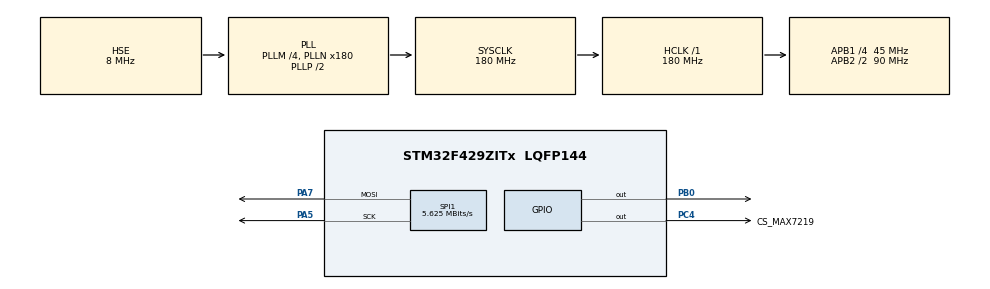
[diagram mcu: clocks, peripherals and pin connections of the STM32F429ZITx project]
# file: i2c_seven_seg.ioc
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Mcu.Family=STM32F4
Mcu.Name=STM32F429ZITx
Mcu.Package=LQFP144
NVIC.PriorityGroup=NVIC_PRIORITYGROUP_4
PA13.Mode=Serial_Wire
PA13.Signal=SYS_JTMS-SWDIO
PA14.Mode=Serial_Wire
PA14.Signal=SYS_JTCK-SWCLK
PA5.Mode=TX_Only_Simplex_Unidirect_Master
PA5.Signal=SPI1_SCK
PA7.Mode=TX_Only_Simplex_Unidirect_Master
PA7.Signal=SPI1_MOSI
PB0.GPIO_PuPd=GPIO_PULLUP
PB0.Signal=GPIO_Output
PC4.GPIO_Label=CS_MAX7219
PC4.GPIO_PuPd=GPIO_NOPULL
PC4.Signal=GPIO_Output
PH0/OSC_IN.Mode=HSE-External-Oscillator
PH0/OSC_IN.Signal=RCC_OSC_IN
PH1/OSC_OUT.Mode=HSE-External-Oscillator
PH1/OSC_OUT.Signal=RCC_OSC_OUT
ProjectManager.HeapSize=0x200
ProjectManager.StackSize=0x400
ProjectManager.TargetToolchain=STM32CubeIDE
RCC.48MHZClocksFreq_Value=90000000
RCC.AHBFreq_Value=180000000
RCC.APB1CLKDivider=RCC_HCLK_DIV4
RCC.APB1Freq_Value=45000000
RCC.APB1TimFreq_Value=90000000
RCC.APB2CLKDivider=RCC_HCLK_DIV2
RCC.APB2Freq_Value=90000000
RCC.APB2TimFreq_Value=180000000
RCC.CortexFreq_Value=180000000
RCC.HCLKFreq_Value=180000000
RCC.HSE_VALUE=8000000
RCC.HSI_VALUE=16000000
RCC.LSE_VALUE=32768
RCC.PLLM=4
RCC.PLLN=180
RCC.PLLSourceVirtual=RCC_PLLSOURCE_HSE
RCC.SYSCLKFreq_VALUE=180000000
RCC.SYSCLKSource=RCC_SYSCLKSOURCE_PLLCLK
RCC.VCOOutputFreq_Value=360000000
SPI1.BaudRatePrescaler=SPI_BAUDRATEPRESCALER_16
SPI1.CalculateBaudRate=5.625 MBits/s
SPI1.DataSize=SPI_DATASIZE_8BIT
SPI1.Direction=SPI_DIRECTION_2LINES
SPI1.Mode=SPI_MODE_MASTER
SPI1.VirtualType=VM_MASTER
board=custom

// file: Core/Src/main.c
/* USER CODE BEGIN Header */
/**
  ******************************************************************************
  * @file           : main.c
  * @brief          : Main program body
  ******************************************************************************
  * @attention
  *
  * Copyright (c) 2022 STMicroelectronics.
  * All rights reserved.
  *
  * This software is licensed under terms that can be found in the LICENSE file
  * in the root directory of this software component.
  * If no LICENSE file comes with this software, it is provided AS-IS.
  *
  ******************************************************************************
  */
/* USER CODE END Header */
#include "main.h"

/* USER CODE BEGIN Includes */

#include "max7219.h"
#include "max7219_digits.h"
#include "stdlib.h"
#include "string.h"
#include "stdio.h"

/* USER CODE END Includes */

 SPI_HandleTypeDef hspi1;

/* USER CODE BEGIN PV */
 uint8_t val = 0;
 uint8_t final;
 uint8_t cnt = 0;
 uint8_t value = 0;
 char msg[5] = {0};
 char msg2[5] = {0};
 uint8_t rand_val = 0;
 uint8_t rand_val_final;
 uint8_t val_setled = 0;
 uint8_t str_len = 0;
 uint8_t str_len2 = 0;
 uint8_t len_flag = 0;
 uint8_t len_flag2 = 0;
// float string_pass = 0.0;
 float string_pass_extr = 0.0;
// float string_pass2 = 0.0;
 float string_pass_extr2 = 0.0;

 int i = 0,j = 0,k=0,m = 0,n = 0;

 int numberArray[8];
 uint8_t maxDevice =1;

 volatile uint8_t displayColon = 0;

 uint8_t SYMBOLS[] = {
 		0x00,	// numeric 0
 		0x01,	// numeric 1
 		0x02,	// numeric 2
 		0x03,	// numeric 3
 		0x04,	// numeric 4
 		0x05,	// numeric 5
 		0x06,	// numeric 6
 		0x07,	// numeric 7
 		0x08,	// numeric 8
 		0x09,	// numeric 9
 		0x01,	// minus
 		0x4F,	// letter E
 		0x37,	// letter H
 		0x0E,	// letter L
 		0x67,	// letter P
 		0x00	// blank
 };
/* USER CODE END PV */

void SystemClock_Config(void);
static void MX_GPIO_Init(void);
static void MX_SPI1_Init(void);
/* USER CODE BEGIN PFP */

static uint8_t number_loop (void);
uint8_t getSymbol(uint8_t number);
uint8_t setLed(int state);
void hart_sendDataSPI(uint8_t reg, uint8_t data);
void InitSPI(void);
void MAX7219_DisplayDecimal(int v, int displaySeparator);

void apc_volt(float string_pass);
void apc_current(float string_pass2);

/* USER CODE END PFP */

int main(void)
{

  /* MCU Configuration--------------------------------------------------------*/

  /* Reset of all peripherals, Initializes the Flash interface and the Systick. */
  HAL_Init();

  /* Configure the system clock */
  SystemClock_Config();

  /* Initialize all configured peripherals */
  MX_GPIO_Init();
  MX_SPI1_Init();
  max7219_Init(NUM_6);
  MAX7219_Init(&hspi1);
  InitSPI();

  /* Infinite loop */
  /* USER CODE BEGIN WHILE */
  while (1)
  {

/*	  value = number_loop();

	  if(value < 10)
	  {
		  final = getSymbol(value);

		  if(j < final)
		  {
			  k = j+1;
			  max7219_PrintDigit(k, final, 0);
			  HAL_Delay(200);
			  MAX7219_ClearAll();
			  j++;
		  }
		  else
		  {
			  j = 0;
		  }

//		  	  HAL_Delay(500);
	  }
	  else
	  {
		  for(i = -11; i < 22; i++)
			  	  {
			  		  MAX7219_ClearAll();
			  		  MAX7219_PutString(i, "Rajdeep");
			  		  HAL_Delay(200);
			  	  }

			  HAL_Delay(100);

			  MAX7219_PutStringCenterAdjust("HARTIANS");
			  HAL_Delay(500);
			  MAX7219_ClearAll();
	  }*/

//	  MAX7219_ClearAll();
/*

	  if(string_pass < 15.00 && len_flag == 0)
	  {
			  sprintf(msg,"%0.2f",string_pass);
//			  MAX7219_ClearAll();
			  MAX7219_PutStringLeftAdjust(msg);
			  str_len = strlen(msg);
			  string_pass+=0.02;
			  HAL_Delay(20);
			  string_pass_extr = string_pass;
	  }
	  else
	  {
//		  string_pass_extr = string_pass;
	  }

	  if(str_len <= 5)
	  {
		  	  if(string_pass_extr < 210.00)
		  	  {
//				  string_pass =
				  len_flag = 1;
				  sprintf(msg,"%0.01f",string_pass_extr);
				  //			  MAX7219_ClearAll();
				   MAX7219_PutStringLeftAdjust(msg);
				   string_pass_extr+=0.02;
				   HAL_Delay(10);
		  	  }
		  	else
		  	  {
		  		  string_pass = 0.0;
		  		  len_flag = 0;
		  	  }
	  }
	  else
	  {
//		  len_flag = 0;
	  }
*/

	  apc_volt(0.0);
	  apc_current(0.0);

//
//	  	  if(string_pass2 < 100.00)
//	  	  {
//	  			  sprintf(msg2,"%0.2f",string_pass2);
//	  			  MAX7219_PutString(4, msg2);
//	  			  string_pass2+=0.02;
////	  			  HAL_Delay(100);
//	  	  }
//	  	  else
//	  	  {
//	  		  string_pass2 = 0.0;
//	  	  }

/*

			if(i < 9)
			{
//				hart_sendDataSPI(i+1, numberArray[i]);
//				 MAX7219_ClearAll();
				val_setled = setLed(0);
				HAL_GPIO_WritePin(GPIOB, GPIO_PIN_0, RESET);
				max7219_SendData(4, Max7219_Digits[i]);
				i++;
				HAL_Delay(200);
			}
//			else if( i < 15)
//			{
//				setLed(1);
//				max7219_SendData(i+1, numberArray[i]);
//				i++;
//			}

			else
			{
				 MAX7219_ClearAll();
				i = 0;
				 HAL_GPIO_WritePin(GPIOB, GPIO_PIN_0, SET);
//				 HAL_Delay(200);
			}
*/

//			  HAL_Delay(1000);

//
//	  if(cnt < 1)
//	  {
//		  max7219_PrintDigit(DIGIT_3, NUM_0, cnt);
//		  cnt++;
//	  }
//	  else
//	  {
//		  max7219_PrintDigit(DIGIT_3, NUM_0, cnt);
//		  cnt = 0;
//	  }
//
//	  max7219_PrintDigit(DIGIT_6, LETTER_A, cnt);
//
//	  HAL_Delay(500);
//	  max7219_Clean();

    /* USER CODE END WHILE */

  }
}

void SystemClock_Config(void)
{
  RCC_OscInitTypeDef RCC_OscInitStruct = {0};
  RCC_ClkInitTypeDef RCC_ClkInitStruct = {0};

  /** Configure the main internal regulator output voltage
  */
  __HAL_RCC_PWR_CLK_ENABLE();
  __HAL_PWR_VOLTAGESCALING_CONFIG(PWR_REGULATOR_VOLTAGE_SCALE1);

  /** Initializes the RCC Oscillators according to the specified parameters
  * in the RCC_OscInitTypeDef structure.
  */
  RCC_OscInitStruct.OscillatorType = RCC_OSCILLATORTYPE_HSE;
  RCC_OscInitStruct.HSEState = RCC_HSE_ON;
  RCC_OscInitStruct.PLL.PLLState = RCC_PLL_ON;
  RCC_OscInitStruct.PLL.PLLSource = RCC_PLLSOURCE_HSE;
  RCC_OscInitStruct.PLL.PLLM = 4;
  RCC_OscInitStruct.PLL.PLLN = 180;
  RCC_OscInitStruct.PLL.PLLP = RCC_PLLP_DIV2;
  RCC_OscInitStruct.PLL.PLLQ = 4;
  if (HAL_RCC_OscConfig(&RCC_OscInitStruct) != HAL_OK)
  {
    Error_Handler();
  }

  /** Activate the Over-Drive mode
  */
  if (HAL_PWREx_EnableOverDrive() != HAL_OK)
  {
    Error_Handler();
  }

  /** Initializes the CPU, AHB and APB buses clocks
  */
  RCC_ClkInitStruct.ClockType = RCC_CLOCKTYPE_HCLK|RCC_CLOCKTYPE_SYSCLK
                              |RCC_CLOCKTYPE_PCLK1|RCC_CLOCKTYPE_PCLK2;
  RCC_ClkInitStruct.SYSCLKSource = RCC_SYSCLKSOURCE_PLLCLK;
  RCC_ClkInitStruct.AHBCLKDivider = RCC_SYSCLK_DIV1;
  RCC_ClkInitStruct.APB1CLKDivider = RCC_HCLK_DIV4;
  RCC_ClkInitStruct.APB2CLKDivider = RCC_HCLK_DIV2;

  if (HAL_RCC_ClockConfig(&RCC_ClkInitStruct, FLASH_LATENCY_5) != HAL_OK)
  {
    Error_Handler();
  }
}

static void MX_SPI1_Init(void)
{

  /* SPI1 parameter configuration*/
  hspi1.Instance = SPI1;
  hspi1.Init.Mode = SPI_MODE_MASTER;
  hspi1.Init.Direction = SPI_DIRECTION_2LINES;
  hspi1.Init.DataSize = SPI_DATASIZE_8BIT;
  hspi1.Init.CLKPolarity = SPI_POLARITY_LOW;
  hspi1.Init.CLKPhase = SPI_PHASE_1EDGE;
  hspi1.Init.NSS = SPI_NSS_SOFT;
  hspi1.Init.BaudRatePrescaler = SPI_BAUDRATEPRESCALER_16;
  hspi1.Init.FirstBit = SPI_FIRSTBIT_MSB;
  hspi1.Init.TIMode = SPI_TIMODE_DISABLE;
  hspi1.Init.CRCCalculation = SPI_CRCCALCULATION_DISABLE;
  hspi1.Init.CRCPolynomial = 10;
  if (HAL_SPI_Init(&hspi1) != HAL_OK)
  {
    Error_Handler();
  }

}

static void MX_GPIO_Init(void)
{
  GPIO_InitTypeDef GPIO_InitStruct = {0};

  /* GPIO Ports Clock Enable */
  __HAL_RCC_GPIOH_CLK_ENABLE();
  __HAL_RCC_GPIOA_CLK_ENABLE();
  __HAL_RCC_GPIOC_CLK_ENABLE();
  __HAL_RCC_GPIOB_CLK_ENABLE();

  /*Configure GPIO pin Output Level */
  HAL_GPIO_WritePin(CS_MAX7219_GPIO_Port, CS_MAX7219_Pin, GPIO_PIN_RESET);

  /*Configure GPIO pin Output Level */
  HAL_GPIO_WritePin(GPIOB, GPIO_PIN_0, GPIO_PIN_RESET);

  /*Configure GPIO pin : CS_MAX7219_Pin */
  GPIO_InitStruct.Pin = CS_MAX7219_Pin;
  GPIO_InitStruct.Mode = GPIO_MODE_OUTPUT_PP;
  GPIO_InitStruct.Pull = GPIO_NOPULL;
  GPIO_InitStruct.Speed = GPIO_SPEED_FREQ_LOW;
  HAL_GPIO_Init(CS_MAX7219_GPIO_Port, &GPIO_InitStruct);

  /*Configure GPIO pin : PB0 */
  GPIO_InitStruct.Pin = GPIO_PIN_0;
  GPIO_InitStruct.Mode = GPIO_MODE_OUTPUT_PP;
  GPIO_InitStruct.Pull = GPIO_PULLUP;
  GPIO_InitStruct.Speed = GPIO_SPEED_FREQ_LOW;
  HAL_GPIO_Init(GPIOB, &GPIO_InitStruct);

}

/* USER CODE BEGIN 4 */
//
void InitSPI(void)
{
	// Set displays

	for(uint8_t j =0; j< maxDevice ; j++)
	{
		HAL_GPIO_WritePin(GPIOB, GPIO_PIN_0, GPIO_PIN_RESET);  // SELECT SLAVE
//		max7219_SendData(0x09,0xFF);  // Decode Mode --Code B decode for digits 7–0
		HAL_GPIO_WritePin(GPIOB, GPIO_PIN_0, GPIO_PIN_SET);  // END OF COMMUNICATION
	}
	for(uint8_t j =0; j< maxDevice ; j++)
	{
		HAL_GPIO_WritePin(GPIOB, GPIO_PIN_0, GPIO_PIN_RESET);  // SELECT SLAVE
//		max7219_SendData(0x0A,0x00);  // Intensity  --- low
		HAL_GPIO_WritePin(GPIOB, GPIO_PIN_0, GPIO_PIN_SET);  // END OF COMMUNICATION
	}
	for(uint8_t j =0; j< maxDevice ; j++)
	{
		HAL_GPIO_WritePin(GPIOB, GPIO_PIN_0, GPIO_PIN_RESET);  // SELECT SLAVE
//		max7219_SendData(0x0B,0x07);  // Scan Limit  --- 0-7
		HAL_GPIO_WritePin(GPIOB, GPIO_PIN_0, GPIO_PIN_SET);  // END OF COMMUNICATION
	}
	for(uint8_t j =0; j< maxDevice ; j++)
	{
		HAL_GPIO_WritePin(GPIOB, GPIO_PIN_0, GPIO_PIN_RESET);  // SELECT SLAVE
//		max7219_SendData(0x0C,0x01);  // Shutdown  --- no
		HAL_GPIO_WritePin(GPIOB, GPIO_PIN_0, GPIO_PIN_SET);  // END OF COMMUNICATION
	}
	for(uint8_t j =0; j< maxDevice ; j++)
	{
		HAL_GPIO_WritePin(GPIOB, GPIO_PIN_0, GPIO_PIN_RESET);  // SELECT SLAVE
//		max7219_SendData(0x0F,0x00);  // Display Test  --- no
		HAL_GPIO_WritePin(GPIOB, GPIO_PIN_0, GPIO_PIN_SET);  // END OF COMMUNICATION
	}

	MAX7219_ClearAll();

	numberArray[0]= 0;		//0x7E;
	numberArray[1]= 0;		//0x30;	// numeric 1;
	numberArray[2]= 0;		//0x6D;	// numeric 2;
	numberArray[3]= 0;		//0x79;	// numeric 3;
	numberArray[4]= 0;		//0x33;	// numeric 4;
	numberArray[5]= 0;		//0x5B;	// numeric 5;
	numberArray[6]= 0;		//0x5F;	// numeric 6;
	numberArray[7]= 0;		//0x70;	// numeric 7;
}

uint8_t setLed(int state)
{
	switch(state)
	{
		case 0:
			numberArray[0] +=1;
			if(numberArray[0] > 9)
			{
				numberArray[0]=0;
				numberArray[1] +=1;
			}

		break;
		case 1:
//			HAL_GPIO_TogglePin(GPIOA,GPIO_PIN_7);
		numberArray[0] -=1;
		if(numberArray[0]<0)
			{
				numberArray[0]=9;
				numberArray[1] -=1;
			}
		break;
	}

}

void hart_sendDataSPI(uint8_t reg, uint8_t data)
{

		HAL_SPI_Transmit(&hspi1, (uint8_t*)&reg ,1, 1000);
		while(HAL_SPI_GetState(&hspi1) != HAL_SPI_STATE_READY);  // wait untill spi be free
		HAL_SPI_Transmit(&hspi1, (uint8_t*)&data ,1, 1000);
		while(HAL_SPI_GetState(&hspi1) != HAL_SPI_STATE_READY);  // waint untill spi be free

}

static uint8_t number_loop (void)
{

	val++;

	if(val < 10)
	{
		return val;
	}
	else {
		val = 0;
	}

	HAL_Delay(500);
}

uint8_t getSymbol(uint8_t number)
{
	return SYMBOLS[number];
}

void apc_volt(float string_pass)
{

	  if(string_pass < 15.00 && len_flag == 0)
	  {
			  sprintf(msg,"%0.2f",string_pass);
			  MAX7219_ClearAll();
			  MAX7219_PutStringLeftAdjust(msg);
			  str_len = strlen(msg);
			  string_pass+=0.02;
			  HAL_Delay(20);
			  string_pass_extr = string_pass;
	  }
	  else
	  {
//		  string_pass_extr = string_pass;
	  }

	  if(str_len <= 5)
	  {
		  	  if(string_pass_extr < 80.00)
		  	  {
//				  string_pass =
				  len_flag = 1;
				  sprintf(msg,"%0.01f",string_pass_extr);
				  //			  MAX7219_ClearAll();
				   MAX7219_PutStringLeftAdjust(msg);
				   string_pass_extr+=0.02;
				   HAL_Delay(10);
		  	  }
		  	else
		  	  {
		  		  string_pass = 0.0;
		  		  len_flag = 0;
		  	  }
	  }
	  else
	  {
//		  len_flag = 0;
	  }

}

void apc_current(float string_pass2)
{
	 if(string_pass2 < 15.00 && len_flag2 == 0)
		  {
				  sprintf(msg2,"%0.2f",string_pass2);
				  MAX7219_ClearAll();
				  MAX7219_PutString(4, msg2);
				  str_len2 = strlen(msg2);
				  string_pass2+=0.08;
				  HAL_Delay(20);
				  string_pass_extr2 = string_pass2;
		  }
		  else
		  {
	//		  string_pass_extr = string_pass;
		  }

		  if(str_len2 <= 5)
		  {
			  	  if(string_pass_extr2 < 610.00)
			  	  {
	//				  string_pass =
					  len_flag2 = 1;
					  sprintf(msg2,"%0.01f",string_pass_extr2);
					  //			  MAX7219_ClearAll();
					  MAX7219_PutString(4, msg2);
					   string_pass_extr2+=0.08;
					   HAL_Delay(10);
			  	  }
			  	else
			  	  {
			  		  string_pass2 = 0.0;
			  		  len_flag2 = 0;
			  	  }
		  }
		  else
		  {
	//		  len_flag = 0;
		  }

}

/* USER CODE END 4 */

void Error_Handler(void)
{
  __disable_irq();
  while (1)
  {
  }
}
